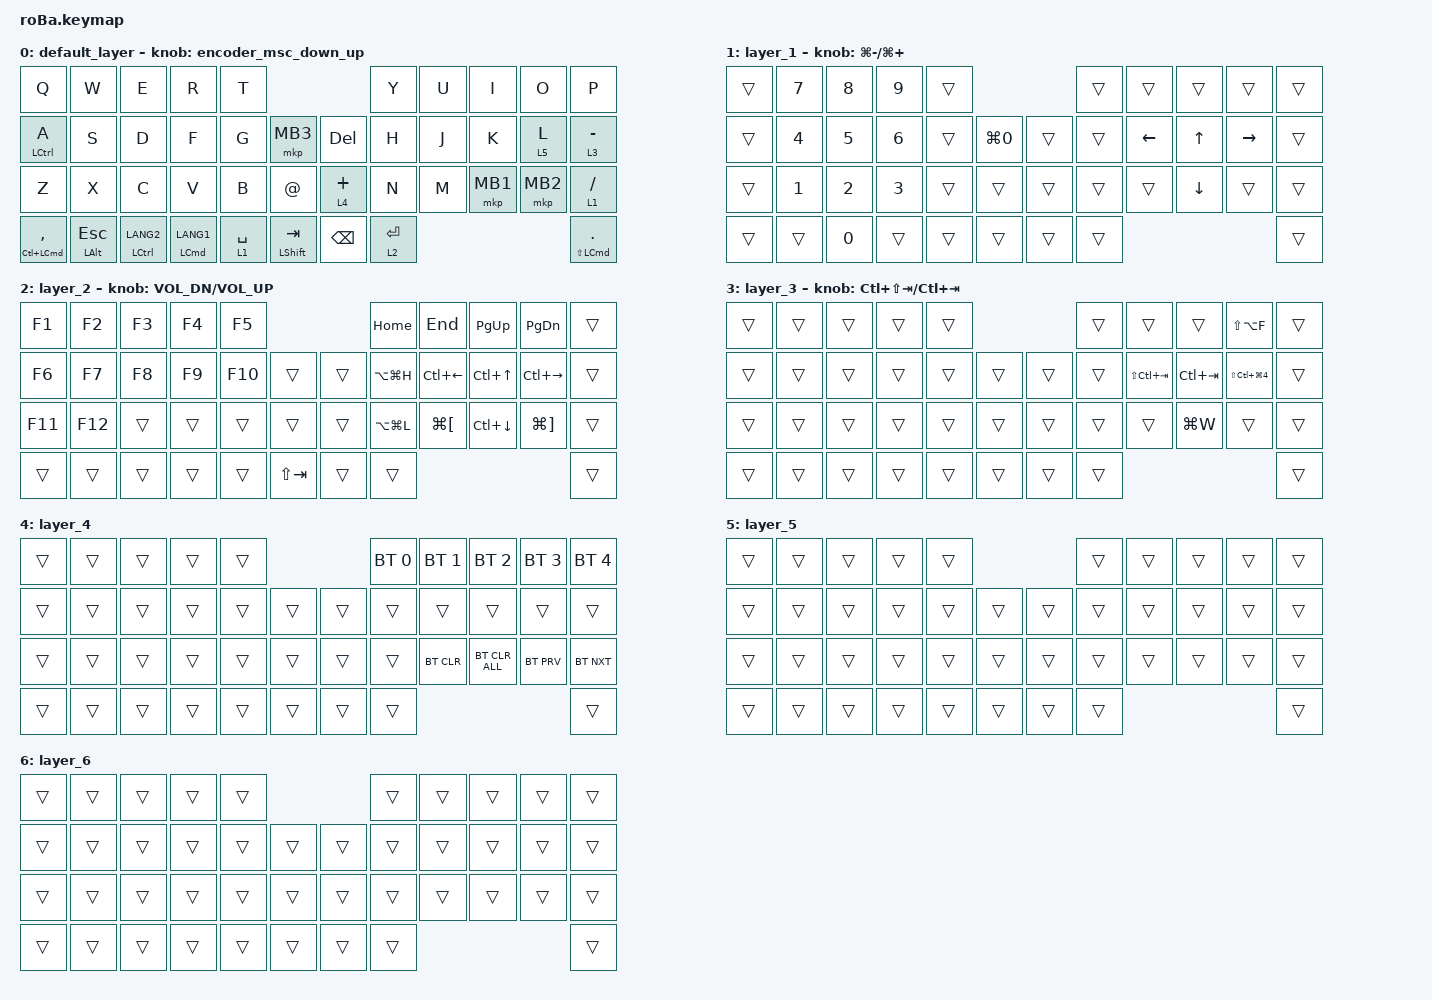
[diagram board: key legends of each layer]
#include <behaviors.dtsi>
#include <dt-bindings/zmk/bt.h>
#include <dt-bindings/zmk/keys.h>
#include <dt-bindings/zmk/pointing.h>

#define ZMK_POINTING_DEFAULT_SCRL_VAL 80

&mt {
    flavor = "balanced";
    quick-tap-ms = <150>;
    tapping-term-ms = <150>;
};

&lt {
    flavor = "balanced";
    quick-tap-ms = <150>;
    tapping-term-ms = <150>;
};

&trackball {
    // automouse-layer = <4>;

    scroll-layers = <5>;

    // arrows {
    //     layers = <3>;
    //     bindings =
    //         <&kp RIGHT_ARROW>,
    //         <&kp LEFT_ARROW>,
    //         <&kp UP_ARROW>,
    //         <&kp DOWN_ARROW>;
    //     tick = <10>;
    //     wait-ms = <5>;
    //     tap-ms = <5>;
    // };
};

/ {
    combos {
        compatible = "zmk,combos";

        quote {
            bindings = <&kp SINGLE_QUOTE>;
            key-positions = <5 17>;
        };

        double_quote {
            bindings = <&kp DOUBLE_QUOTES>;
            key-positions = <17 29>;
        };

        semicolon {
            bindings = <&kp SEMICOLON>;
            key-positions = <6 18>;
            timeout-ms = <20>;
        };

        colon {
            bindings = <&kp COLON>;
            key-positions = <18 30>;
        };

        pipe {
            bindings = <&kp PIPE>;
            key-positions = <7 19>;
            timeout-ms = <20>;
        };

        backslash {
            bindings = <&kp BACKSLASH>;
            key-positions = <19 31>;
        };

        tilde {
            bindings = <&kp TILDE>;
            key-positions = <4 14>;
        };

        grave {
            bindings = <&kp GRAVE>;
            key-positions = <14 26>;
        };

        underscore {
            bindings = <&kp UNDERSCORE>;
            key-positions = <3 13>;
        };

        equal {
            bindings = <&kp EQUAL>;
            key-positions = <13 25>;
        };

        lt {
            bindings = <&kp LESS_THAN>;
            key-positions = <2 12>;
        };

        gt {
            bindings = <&kp GREATER_THAN>;
            key-positions = <24 12>;
        };

        exclamation {
            bindings = <&kp EXCLAMATION>;
            key-positions = <1 11>;
        };

        question {
            bindings = <&kp QUESTION>;
            key-positions = <11 23>;
        };

        percent {
            bindings = <&kp PERCENT>;
            key-positions = <1 3>;
        };

        dollar {
            bindings = <&kp DOLLAR>;
            key-positions = <13 11>;
        };

        hash {
            bindings = <&kp HASH>;
            key-positions = <23 25>;
        };

        lpar {
            bindings = <&kp LEFT_PARENTHESIS>;
            key-positions = <12 13>;
        };

        rpar {
            bindings = <&kp RIGHT_PARENTHESIS>;
            key-positions = <18 19>;
        };

        lbkt {
            bindings = <&kp LEFT_BRACKET>;
            key-positions = <3 2>;
            timeout-ms = <20>;
        };

        rbkt {
            bindings = <&kp RIGHT_BRACKET>;
            key-positions = <6 7>;
            timeout-ms = <20>;
        };

        lbrc {
            bindings = <&kp LEFT_BRACE>;
            key-positions = <25 24>;
        };

        rbrc {
            bindings = <&kp RBRC>;
            key-positions = <30 31>;
        };

        caret {
            bindings = <&kp CARET>;
            key-positions = <27 26>;
        };

        amps {
            bindings = <&kp AMPERSAND>;
            key-positions = <0 10>;
            timeout-ms = <20>;
        };

        asterisk {
            bindings = <&kp ASTERISK>;
            key-positions = <10 22>;
        };
    };

    macros {
        to_layer_0: to_layer_0 {
            compatible = "zmk,behavior-macro-one-param";
            #binding-cells = <1>;
            bindings = <&to 0 &macro_param_1to1 &kp MACRO_PLACEHOLDER>;
            label = "TO_LAYER_0";
        };
    };

    behaviors {
        lt_hold: lt_hold {
            compatible = "zmk,behavior-hold-tap";
            label = "LT_HOLD";
            flavor = "hold-preferred";
            quick-tap-ms = <150>;
            tapping-term-ms = <150>;
            bindings = <&mo>, <&kp>;

            #binding-cells = <2>;
        };

        lt_to_layer_0: lt_to_layer_0 {
            compatible = "zmk,behavior-hold-tap";
            label = "LAYER_TAP_TO_0";
            bindings = <&mo>, <&to_layer_0>;

            #binding-cells = <2>;
            tapping-term-ms = <200>;
        };

        encoder_msc_down_up: encoder_msc_down_up {
            compatible = "zmk,behavior-sensor-rotate";
            label = "ENCODER_MSC_DOWN_UP";
            #sensor-binding-cells = <0>;
            bindings = <&msc SCRL_DOWN>, <&msc SCRL_UP>;

            tap-ms = <20>;
        };
    };

    keymap {
        compatible = "zmk,keymap";

        default_layer {
            bindings = <
&kp Q                       &kp W             &kp E            &kp R                   &kp T                                                    &kp Y        &kp U  &kp I     &kp O     &kp P
&mt LCTRL A                 &kp S             &kp D            &kp F                   &kp G             &mkp MB3                &kp DELETE     &kp H        &kp J  &kp K     &lt 5 L   &lt 3 MINUS
&kp Z                       &kp X             &kp C            &kp V                   &kp B             &kp AT_SIGN             &lt 4 PLUS     &kp N        &kp M  &mkp MB1  &mkp MB2  &lt 1 SLASH
&mt LC(LEFT_COMMAND) COMMA  &mt LEFT_ALT ESC  &mt LCTRL LANG2  &mt LEFT_COMMAND LANG1  &lt_hold 1 SPACE  &mt LEFT_SHIFT TAB      &kp BACKSPACE  &lt 2 ENTER                             &mt LS(LEFT_COMMAND) PERIOD
            >;

            sensor-bindings = <&encoder_msc_down_up>;
        };

        layer_1 {
            bindings = <
&trans  &kp NUMBER_7  &kp NUMBER_8  &kp NUMBER_9  &trans                                &trans  &trans          &trans          &trans           &trans
&trans  &kp NUMBER_4  &kp NUMBER_5  &kp NUMBER_6  &trans  &kp LG(NUMBER_0)      &trans  &trans  &kp LEFT_ARROW  &kp UP_ARROW    &kp RIGHT_ARROW  &trans
&trans  &kp NUMBER_1  &kp NUMBER_2  &kp NUMBER_3  &trans  &trans                &trans  &trans  &trans          &kp DOWN_ARROW  &trans           &trans
&trans  &trans        &kp N0        &trans        &trans  &trans                &trans  &trans                                                   &trans
            >;

            sensor-bindings = <&inc_dec_kp LG(MINUS) LG(PLUS)>;
        };

        layer_2 {
            bindings = <
&kp F1   &kp F2   &kp F3  &kp F4  &kp F5                            &kp HOME       &kp END               &kp PAGE_UP         &kp PAGE_DOWN          &trans
&kp F6   &kp F7   &kp F8  &kp F9  &kp F10  &trans           &trans  &kp LA(LG(H))  &kp LC(LEFT_ARROW)    &kp LC(UP_ARROW)    &kp LC(RIGHT_ARROW)    &trans
&kp F11  &kp F12  &trans  &trans  &trans   &trans           &trans  &kp LA(LG(L))  &kp LG(LEFT_BRACKET)  &kp LC(DOWN_ARROW)  &kp LG(RIGHT_BRACKET)  &trans
&trans   &trans   &trans  &trans  &trans   &kp LS(TAB)      &trans  &trans                                                                          &trans
            >;

            sensor-bindings = <&inc_dec_kp C_VOL_DN C_VOL_UP>;
        };

        layer_3 {
            bindings = <
&trans  &trans  &trans  &trans  &trans                      &trans  &trans           &trans       &kp LS(LA(F))             &trans
&trans  &trans  &trans  &trans  &trans  &trans      &trans  &trans  &kp LS(LC(TAB))  &kp LC(TAB)  &kp LS(LC(LG(NUMBER_4)))  &trans
&trans  &trans  &trans  &trans  &trans  &trans      &trans  &trans  &trans           &kp LG(W)    &trans                    &trans
&trans  &trans  &trans  &trans  &trans  &trans      &trans  &trans                                                          &trans
            >;

            sensor-bindings = <&inc_dec_kp LC(LS(TAB)) LC(TAB)>;
        };

        layer_4 {
            bindings = <
&trans  &trans  &trans  &trans  &trans                      &bt BT_SEL 0  &bt BT_SEL 1    &bt BT_SEL 2    &bt BT_SEL 3  &bt BT_SEL 4
&trans  &trans  &trans  &trans  &trans  &trans      &trans  &trans        &trans          &trans          &trans        &trans
&trans  &trans  &trans  &trans  &trans  &trans      &trans  &trans        &bt BT_CLR      &bt BT_CLR_ALL  &bt BT_PRV    &bt BT_NXT    
&trans  &trans  &trans  &trans  &trans  &trans      &trans  &trans                                                    &trans
            >;
        };

        layer_5 {
            bindings = <
&trans  &trans  &trans  &trans  &trans                      &trans  &trans  &trans  &trans  &trans
&trans  &trans  &trans  &trans  &trans  &trans      &trans  &trans  &trans  &trans  &trans  &trans
&trans  &trans  &trans  &trans  &trans  &trans      &trans  &trans  &trans  &trans  &trans  &trans
&trans  &trans  &trans  &trans  &trans  &trans      &trans  &trans                          &trans
            >;
        };

        layer_6 {
            bindings = <
&trans  &trans  &trans  &trans  &trans                      &trans  &trans  &trans  &trans  &trans
&trans  &trans  &trans  &trans  &trans  &trans      &trans  &trans  &trans  &trans  &trans  &trans
&trans  &trans  &trans  &trans  &trans  &trans      &trans  &trans  &trans  &trans  &trans  &trans
&trans  &trans  &trans  &trans  &trans  &trans      &trans  &trans                          &trans
            >;
        };
    };
};
